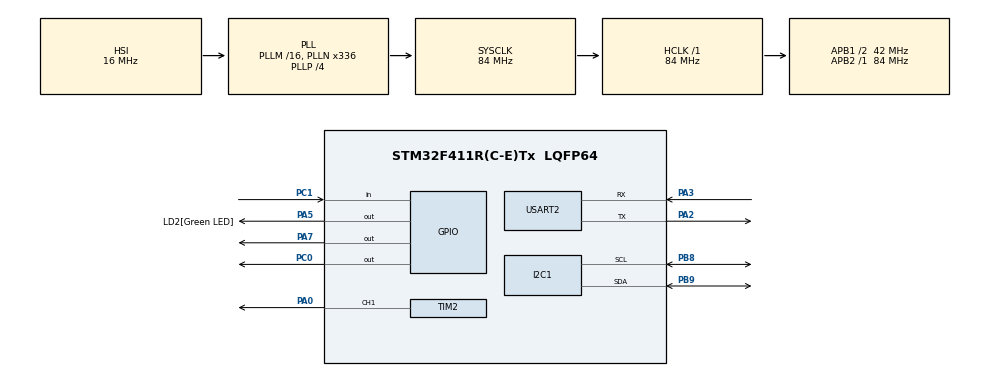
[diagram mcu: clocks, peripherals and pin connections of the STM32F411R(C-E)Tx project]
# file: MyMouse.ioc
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Mcu.Family=STM32F4
Mcu.Name=STM32F411R(C-E)Tx
Mcu.Package=LQFP64
NVIC.PriorityGroup=NVIC_PRIORITYGROUP_0
PA0-WKUP.Signal=S_TIM2_CH1_ETR
PA2.Mode=Asynchronous
PA2.Signal=USART2_TX
PA3.Mode=Asynchronous
PA3.Signal=USART2_RX
PA5.GPIO_Label=LD2[Green LED]
PA5.Signal=GPIO_Output
PA7.Signal=GPIO_Output
PB8.Mode=I2C
PB8.Signal=I2C1_SCL
PB9.Mode=I2C
PB9.Signal=I2C1_SDA
PC0.GPIO_Speed=GPIO_SPEED_FREQ_LOW
PC0.Signal=GPIO_Output
PC1.GPIO_PuPd=GPIO_PULLDOWN
PC1.Signal=GPIO_Input
ProjectManager.HeapSize=0x200
ProjectManager.StackSize=0x400
ProjectManager.TargetToolchain=STM32CubeIDE
RCC.48MHZClocksFreq_Value=84000000
RCC.AHBFreq_Value=84000000
RCC.APB1CLKDivider=RCC_HCLK_DIV2
RCC.APB1Freq_Value=42000000
RCC.APB1TimFreq_Value=84000000
RCC.APB2Freq_Value=84000000
RCC.APB2TimFreq_Value=84000000
RCC.CortexFreq_Value=84000000
RCC.FLatency-AdvancedSettings=FLASH_LATENCY_2
RCC.HCLKFreq_Value=84000000
RCC.HSE_VALUE=8000000
RCC.HSI_VALUE=16000000
RCC.LSE_VALUE=32768
RCC.PLLN=336
RCC.PLLP=RCC_PLLP_DIV4
RCC.SYSCLKFreq_VALUE=84000000
RCC.SYSCLKSource=RCC_SYSCLKSOURCE_PLLCLK
RCC.VCOOutputFreq_Value=336000000
SH.S_TIM2_CH1_ETR.0=TIM2_CH1,PWM Generation1 CH1
TIM1.Prescaler=84
TIM2.Channel-PWM\ Generation1\ CH1=TIM_CHANNEL_1
TIM2.Period=999
TIM2.Prescaler=41-1
USART2.VirtualMode=VM_ASYNC
VP_TIM1_VS_ClockSourceINT.Mode=Internal
VP_TIM2_VS_ClockSourceINT.Mode=Internal
board=NUCLEO-F411RE

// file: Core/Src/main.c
/* USER CODE BEGIN Header */
/**
  ******************************************************************************
  * @file           : main.c
  * @brief          : Main program body
  ******************************************************************************
  * @attention
  *
  * Copyright (c) 2025 STMicroelectronics.
  * All rights reserved.
  *
  * This software is licensed under terms that can be found in the LICENSE file
  * in the root directory of this software component.
  * If no LICENSE file comes with this software, it is provided AS-IS.
  *
  ******************************************************************************
  */
/* USER CODE END Header */
#include "main.h"

/* USER CODE BEGIN Includes */
#include <stdio.h>
#include "stm32f4xx_hal.h"
#include "bno055.h"
/* USER CODE END Includes */

I2C_HandleTypeDef hi2c1;

TIM_HandleTypeDef htim1;
TIM_HandleTypeDef htim2;

UART_HandleTypeDef huart2;

void SystemClock_Config(void);
static void MX_GPIO_Init(void);
static void MX_I2C1_Init(void);
static void MX_TIM1_Init(void);
static void MX_USART2_UART_Init(void);
static void MX_TIM2_Init(void);
/* USER CODE BEGIN PFP */
float get_distance_us015();

void BNO055_Init();
void BNO055_GetAccel(int16_t *x, int16_t *y, int16_t *z);

uint8_t GetAccelData(uint8_t* str);
uint8_t GetMagnetData(uint8_t* str);
/* USER CODE END PFP */

/* USER CODE BEGIN 0 */
#define TRIG_PIN GPIO_PIN_0 // Trigピン (適切に変更)
#define ECHO_PIN GPIO_PIN_1 // Echoピン (適切に変更)
#define TRIG_PORT GPIOC     // Trigピンのポート
#define ECHO_PORT GPIOC     // Echoピンのポート

#define	IMU_NUMBER_OF_BYTES	18
/* USER CODE END 0 */

int main(void)
{

  /* USER CODE BEGIN 1 */
	setbuf(stdout, NULL);
  /* USER CODE END 1 */

  /* MCU Configuration--------------------------------------------------------*/

  /* Reset of all peripherals, Initializes the Flash interface and the Systick. */
  HAL_Init();

  /* USER CODE BEGIN Init */
  uint8_t imu_readings[IMU_NUMBER_OF_BYTES];
  int16_t accel_data[3];
  float acc_x, acc_y, acc_z;

  uint8_t mag_readings[6];
  int16_t magnet_data[3];
  float mag_x, mag_y, mag_z;

  int flag = 4;
  /* USER CODE END Init */

  /* Configure the system clock */
  SystemClock_Config();

  /* Initialize all configured peripherals */
  MX_GPIO_Init();
  MX_I2C1_Init();
  MX_TIM1_Init();
  MX_USART2_UART_Init();
  MX_TIM2_Init();
  /* USER CODE BEGIN 2 */
  HAL_TIM_Base_Start(&htim1); // タイマーをスタート
  BNO055_Init();
  /* USER CODE END 2 */

  /* Infinite loop */
  while (1)
  {

    /* USER CODE BEGIN 3 */
	  if(flag == 0){
		  printf("Hello World!!");
		  HAL_GPIO_TogglePin(LD2_GPIO_Port, LD2_Pin);
	  }

	  if(flag == 1){
		  float distance = get_distance_us015(); // US-015の距離取得
		  printf("Distance: %.2f", distance);
	  }

	  if(flag == 2){
		  GetAccelData((uint8_t*)imu_readings);
		  accel_data[0] = (((int16_t)((uint8_t *)(imu_readings))[1] << 8) | ((uint8_t *)(imu_readings))[0]);
		  accel_data[1] = (((int16_t)((uint8_t *)(imu_readings))[3] << 8) | ((uint8_t *)(imu_readings))[2]);
		  accel_data[2] = (((int16_t)((uint8_t *)(imu_readings))[5] << 8) | ((uint8_t *)(imu_readings))[4]);
		  acc_x = ((float)(accel_data[0]))/100.0f; //m/s2
		  acc_y = ((float)(accel_data[1]))/100.0f;
		  acc_z = ((float)(accel_data[2]))/100.0f;

		  //BNO055_GetAccel(&ax, &ay, &az);
		  printf("X: %.2f Y: %.2f Z: %.2f", acc_x, acc_y, acc_z);
	  }

	  if(flag == 3){
		  GetMagnetData((uint8_t*)mag_readings);
		  magnet_data[0] = (((int16_t)((uint8_t *)(mag_readings))[1] << 8) | ((uint8_t *)(mag_readings))[0]);
		  magnet_data[1] = (((int16_t)((uint8_t *)(mag_readings))[3] << 8) | ((uint8_t *)(mag_readings))[2]);
		  magnet_data[2] = (((int16_t)((uint8_t *)(mag_readings))[5] << 8) | ((uint8_t *)(mag_readings))[4]);

		  mag_x = ((float)(magnet_data[0])) / 16.0f;  // μT (BNO055の地磁気データは16LSB/μT)
		  mag_y = ((float)(magnet_data[1])) / 16.0f;
		  mag_z = ((float)(magnet_data[2])) / 16.0f;

		  printf("Magnet X: %.2f μT Y: %.2f μT Z: %.2f μT\n", mag_x, mag_y, mag_z);
	  }

	  if(flag == 4){
		  HAL_GPIO_WritePin(GPIOA, GPIO_PIN_7, 1);
		  __HAL_TIM_SET_COMPARE(&htim2, TIM_CHANNEL_1, 299); // 0 - 999
		  HAL_TIM_PWM_Start(&htim2, TIM_CHANNEL_1);
		  HAL_Delay(3000);
		  HAL_TIM_PWM_Stop(&htim2, TIM_CHANNEL_1);

		  HAL_GPIO_WritePin(GPIOA, GPIO_PIN_7, 0);
		  __HAL_TIM_SET_COMPARE(&htim2, TIM_CHANNEL_1, 699); // 0 - 999
		  HAL_TIM_PWM_Start(&htim2, TIM_CHANNEL_1);
		  HAL_Delay(3000);
		  HAL_TIM_PWM_Stop(&htim2, TIM_CHANNEL_1);

	  }

	  printf("\r\n");
	  HAL_Delay(500);
  }
  /* USER CODE END 3 */
}

void SystemClock_Config(void)
{
  RCC_OscInitTypeDef RCC_OscInitStruct = {0};
  RCC_ClkInitTypeDef RCC_ClkInitStruct = {0};

  /** Configure the main internal regulator output voltage
  */
  __HAL_RCC_PWR_CLK_ENABLE();
  __HAL_PWR_VOLTAGESCALING_CONFIG(PWR_REGULATOR_VOLTAGE_SCALE1);

  /** Initializes the RCC Oscillators according to the specified parameters
  * in the RCC_OscInitTypeDef structure.
  */
  RCC_OscInitStruct.OscillatorType = RCC_OSCILLATORTYPE_HSI;
  RCC_OscInitStruct.HSIState = RCC_HSI_ON;
  RCC_OscInitStruct.HSICalibrationValue = RCC_HSICALIBRATION_DEFAULT;
  RCC_OscInitStruct.PLL.PLLState = RCC_PLL_ON;
  RCC_OscInitStruct.PLL.PLLSource = RCC_PLLSOURCE_HSI;
  RCC_OscInitStruct.PLL.PLLM = 16;
  RCC_OscInitStruct.PLL.PLLN = 336;
  RCC_OscInitStruct.PLL.PLLP = RCC_PLLP_DIV4;
  RCC_OscInitStruct.PLL.PLLQ = 4;
  if (HAL_RCC_OscConfig(&RCC_OscInitStruct) != HAL_OK)
  {
    Error_Handler();
  }

  /** Initializes the CPU, AHB and APB buses clocks
  */
  RCC_ClkInitStruct.ClockType = RCC_CLOCKTYPE_HCLK|RCC_CLOCKTYPE_SYSCLK
                              |RCC_CLOCKTYPE_PCLK1|RCC_CLOCKTYPE_PCLK2;
  RCC_ClkInitStruct.SYSCLKSource = RCC_SYSCLKSOURCE_PLLCLK;
  RCC_ClkInitStruct.AHBCLKDivider = RCC_SYSCLK_DIV1;
  RCC_ClkInitStruct.APB1CLKDivider = RCC_HCLK_DIV2;
  RCC_ClkInitStruct.APB2CLKDivider = RCC_HCLK_DIV1;

  if (HAL_RCC_ClockConfig(&RCC_ClkInitStruct, FLASH_LATENCY_2) != HAL_OK)
  {
    Error_Handler();
  }
}

static void MX_I2C1_Init(void)
{

  hi2c1.Instance = I2C1;
  hi2c1.Init.ClockSpeed = 100000;
  hi2c1.Init.DutyCycle = I2C_DUTYCYCLE_2;
  hi2c1.Init.OwnAddress1 = 0;
  hi2c1.Init.AddressingMode = I2C_ADDRESSINGMODE_7BIT;
  hi2c1.Init.DualAddressMode = I2C_DUALADDRESS_DISABLE;
  hi2c1.Init.OwnAddress2 = 0;
  hi2c1.Init.GeneralCallMode = I2C_GENERALCALL_DISABLE;
  hi2c1.Init.NoStretchMode = I2C_NOSTRETCH_DISABLE;
  if (HAL_I2C_Init(&hi2c1) != HAL_OK)
  {
    Error_Handler();
  }

}

static void MX_TIM1_Init(void)
{

  TIM_ClockConfigTypeDef sClockSourceConfig = {0};
  TIM_MasterConfigTypeDef sMasterConfig = {0};

  htim1.Instance = TIM1;
  htim1.Init.Prescaler = 84;
  htim1.Init.CounterMode = TIM_COUNTERMODE_UP;
  htim1.Init.Period = 65535;
  htim1.Init.ClockDivision = TIM_CLOCKDIVISION_DIV1;
  htim1.Init.RepetitionCounter = 0;
  htim1.Init.AutoReloadPreload = TIM_AUTORELOAD_PRELOAD_DISABLE;
  if (HAL_TIM_Base_Init(&htim1) != HAL_OK)
  {
    Error_Handler();
  }
  sClockSourceConfig.ClockSource = TIM_CLOCKSOURCE_INTERNAL;
  if (HAL_TIM_ConfigClockSource(&htim1, &sClockSourceConfig) != HAL_OK)
  {
    Error_Handler();
  }
  sMasterConfig.MasterOutputTrigger = TIM_TRGO_RESET;
  sMasterConfig.MasterSlaveMode = TIM_MASTERSLAVEMODE_DISABLE;
  if (HAL_TIMEx_MasterConfigSynchronization(&htim1, &sMasterConfig) != HAL_OK)
  {
    Error_Handler();
  }

}

static void MX_TIM2_Init(void)
{

  TIM_ClockConfigTypeDef sClockSourceConfig = {0};
  TIM_MasterConfigTypeDef sMasterConfig = {0};
  TIM_OC_InitTypeDef sConfigOC = {0};

  htim2.Instance = TIM2;
  htim2.Init.Prescaler = 41-1;
  htim2.Init.CounterMode = TIM_COUNTERMODE_UP;
  htim2.Init.Period = 999;
  htim2.Init.ClockDivision = TIM_CLOCKDIVISION_DIV1;
  htim2.Init.AutoReloadPreload = TIM_AUTORELOAD_PRELOAD_DISABLE;
  if (HAL_TIM_Base_Init(&htim2) != HAL_OK)
  {
    Error_Handler();
  }
  sClockSourceConfig.ClockSource = TIM_CLOCKSOURCE_INTERNAL;
  if (HAL_TIM_ConfigClockSource(&htim2, &sClockSourceConfig) != HAL_OK)
  {
    Error_Handler();
  }
  if (HAL_TIM_PWM_Init(&htim2) != HAL_OK)
  {
    Error_Handler();
  }
  sMasterConfig.MasterOutputTrigger = TIM_TRGO_RESET;
  sMasterConfig.MasterSlaveMode = TIM_MASTERSLAVEMODE_DISABLE;
  if (HAL_TIMEx_MasterConfigSynchronization(&htim2, &sMasterConfig) != HAL_OK)
  {
    Error_Handler();
  }
  sConfigOC.OCMode = TIM_OCMODE_PWM1;
  sConfigOC.Pulse = 0;
  sConfigOC.OCPolarity = TIM_OCPOLARITY_HIGH;
  sConfigOC.OCFastMode = TIM_OCFAST_DISABLE;
  if (HAL_TIM_PWM_ConfigChannel(&htim2, &sConfigOC, TIM_CHANNEL_1) != HAL_OK)
  {
    Error_Handler();
  }
  HAL_TIM_MspPostInit(&htim2);

}

static void MX_USART2_UART_Init(void)
{

  huart2.Instance = USART2;
  huart2.Init.BaudRate = 115200;
  huart2.Init.WordLength = UART_WORDLENGTH_8B;
  huart2.Init.StopBits = UART_STOPBITS_1;
  huart2.Init.Parity = UART_PARITY_NONE;
  huart2.Init.Mode = UART_MODE_TX_RX;
  huart2.Init.HwFlowCtl = UART_HWCONTROL_NONE;
  huart2.Init.OverSampling = UART_OVERSAMPLING_16;
  if (HAL_UART_Init(&huart2) != HAL_OK)
  {
    Error_Handler();
  }

}

static void MX_GPIO_Init(void)
{
  GPIO_InitTypeDef GPIO_InitStruct = {0};

  /* GPIO Ports Clock Enable */
  __HAL_RCC_GPIOC_CLK_ENABLE();
  __HAL_RCC_GPIOA_CLK_ENABLE();
  __HAL_RCC_GPIOB_CLK_ENABLE();

  /*Configure GPIO pin Output Level */
  HAL_GPIO_WritePin(GPIOC, GPIO_PIN_0, GPIO_PIN_RESET);

  /*Configure GPIO pin Output Level */
  HAL_GPIO_WritePin(GPIOA, LD2_Pin|GPIO_PIN_7, GPIO_PIN_RESET);

  /*Configure GPIO pin : PC0 */
  GPIO_InitStruct.Pin = GPIO_PIN_0;
  GPIO_InitStruct.Mode = GPIO_MODE_OUTPUT_PP;
  GPIO_InitStruct.Pull = GPIO_NOPULL;
  GPIO_InitStruct.Speed = GPIO_SPEED_FREQ_LOW;
  HAL_GPIO_Init(GPIOC, &GPIO_InitStruct);

  /*Configure GPIO pin : PC1 */
  GPIO_InitStruct.Pin = GPIO_PIN_1;
  GPIO_InitStruct.Mode = GPIO_MODE_INPUT;
  GPIO_InitStruct.Pull = GPIO_PULLDOWN;
  HAL_GPIO_Init(GPIOC, &GPIO_InitStruct);

  /*Configure GPIO pins : LD2_Pin PA7 */
  GPIO_InitStruct.Pin = LD2_Pin|GPIO_PIN_7;
  GPIO_InitStruct.Mode = GPIO_MODE_OUTPUT_PP;
  GPIO_InitStruct.Pull = GPIO_NOPULL;
  GPIO_InitStruct.Speed = GPIO_SPEED_FREQ_LOW;
  HAL_GPIO_Init(GPIOA, &GPIO_InitStruct);

}

/* USER CODE BEGIN 4 */
// printf
int _write(int file, char *ptr, int len)
{
  HAL_UART_Transmit(&huart2,(uint8_t *)ptr,len,10);
  return len;
}

// 超音波センサ
void delay_us(uint16_t us) {
    __HAL_TIM_SET_COUNTER(&htim1, 0); // タイマーをリセット
    while (__HAL_TIM_GET_COUNTER(&htim1) < us);
}

float get_distance_us015() {
    // Trigピンを10µs HIGHにする
    HAL_GPIO_WritePin(TRIG_PORT, TRIG_PIN, GPIO_PIN_SET);
    delay_us(10);
    HAL_GPIO_WritePin(TRIG_PORT, TRIG_PIN, GPIO_PIN_RESET);

    // EchoピンがHIGHになるまで待機
    while (HAL_GPIO_ReadPin(ECHO_PORT, ECHO_PIN) == GPIO_PIN_RESET);

    // HIGHの間の時間を計測
    uint32_t start = __HAL_TIM_GET_COUNTER(&htim1);
    while (HAL_GPIO_ReadPin(ECHO_PORT, ECHO_PIN) == GPIO_PIN_SET);
    uint32_t end = __HAL_TIM_GET_COUNTER(&htim1);

    // 距離を計算 (時間 × 音速 / 2)
    float distance = (end - start) * 0.0343 / 2.0;
    return distance;
}

//9軸センサ
void BNO055_Init() {
    uint8_t op_mode = 0x00; // CONFIGMODE
    HAL_I2C_Mem_Write(&hi2c1, BNO055_I2C_ADDR_LO<<1, 0x3D, 1, &op_mode, 1, 10);
    HAL_Delay(10);

    // オペレーションモードをNDOFモードに設定
    op_mode = 0x0C;
    HAL_I2C_Mem_Write(&hi2c1, BNO055_I2C_ADDR_LO<<1, 0x3D, 1, &op_mode, 1, 10);
    HAL_Delay(10);
}

void BNO055_GetAccel(int16_t *x, int16_t *y, int16_t *z) {
    uint8_t data[6] = {0};
    HAL_I2C_Mem_Read(&hi2c1, BNO055_I2C_ADDR_LO<<1, 0x08, 1, data, 6, HAL_MAX_DELAY);
    *x = (int16_t)((data[1] << 8) | data[0]);
    *y = (int16_t)((data[3] << 8) | data[2]);
    *x = (int16_t)((data[5] << 8) | data[4]);
}

uint8_t GetAccelData(uint8_t* str) {
	uint8_t status;
	status = HAL_I2C_Mem_Read(&hi2c1, BNO055_I2C_ADDR_LO<<1, BNO055_ACC_DATA_X_LSB, I2C_MEMADD_SIZE_8BIT, str, IMU_NUMBER_OF_BYTES,100);
  //while (HAL_I2C_GetState(hi2c_device) != HAL_I2C_STATE_READY) {}
	return status;
}

uint8_t GetMagnetData(uint8_t* str) {
    uint8_t status;
    status = HAL_I2C_Mem_Read(&hi2c1, BNO055_I2C_ADDR_LO << 1, BNO055_MAG_DATA_X_LSB, I2C_MEMADD_SIZE_8BIT, str, 6, 100);
    return status;
}
/* USER CODE END 4 */

void Error_Handler(void)
{
  __disable_irq();
  while (1)
  {
  }
}
